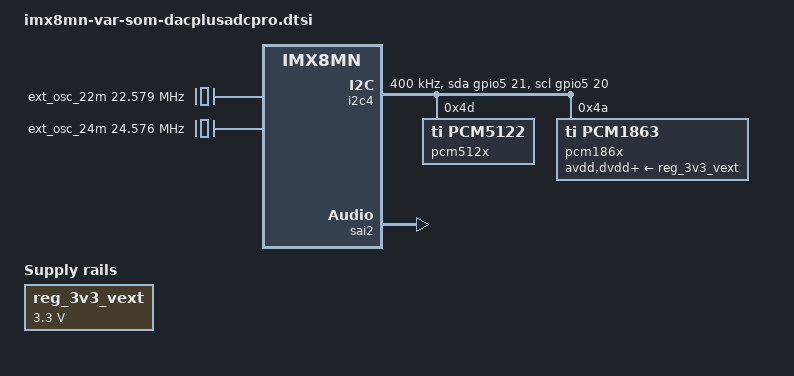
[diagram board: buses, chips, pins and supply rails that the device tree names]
// SPDX-License-Identifier: GPL-2.0
/*
 * Copyright (C) 2022 HiFiBerry Deutschland GmbH
 * Author: Joerg Schambacher <joerg@hifiberry.com>
 *
 */

/ {
	ext_osc_22m: ext-osc-22m {
		compatible = "fixed-clock";
		#clock-cells = <0>;
		clock-frequency = <22579200>;
		clock-output-names = "sclk0";
	};

	ext_osc_24m: ext-osc-24m {
		compatible = "fixed-clock";
		#clock-cells = <0>;
		clock-frequency = <24576000>;
		clock-output-names = "sclk1";
	};

	reg_3v3_vext: regulator-3v3-vext {
		compatible = "regulator-fixed";
		regulator-name = "3V3_VEXT";
		regulator-min-microvolt = <3300000>;
		regulator-max-microvolt = <3300000>;
	};

	sound-dacplusadcpro {
		compatible = "hifiberry,imx-audio-dacplusadcpro";
		model = "dacplusadcpro";
		audio-cpu = <&sai2>;
		audio-codec = <&pcm512x &pcm186x>;
		format = "i2s";
		audio-widgets =
			"Line", "Left Line Out Jack",
			"Line", "Right Line Out Jack";
		audio-routing =
			"Left Line Out Jack", "OUTL",
			"Right Line Out Jack", "OUTR";
		bitclock-master = <&pcm512x>;
		frame-master = <&pcm512x>;
		dac,24db_digital_gain;
		dac,led_status;
		status = "okay";
	};

};

&i2c4 {
	pinctrl-names = "default","gpio";
	pinctrl-0 = <&pinctrl_i2c4>;
	pinctrl-1 = <&pinctrl_i2c4_gpio>;
	sda-gpios = <&gpio5 21 (GPIO_ACTIVE_HIGH | GPIO_OPEN_DRAIN)>;
	scl-gpios = <&gpio5 20 (GPIO_ACTIVE_HIGH | GPIO_OPEN_DRAIN)>;
	clock-frequency = <400000>;
	status = "okay";

	pcm512x: pcm512x@4d {
		compatible = "ti,pcm5122";
		reg = <0x4d>;
		clocks = <&ext_osc_22m>, <&ext_osc_24m>;
		clock-names = "sclk0", "sclk1";
		status = "okay";
//		status = "disabled";
	};

	pcm186x: pcm186x@4a {
		compatible = "ti,pcm1863";
		reg = <0x4a>;
		avdd-supply = <&reg_3v3_vext>;
		dvdd-supply = <&reg_3v3_vext>;
		iovdd-supply = <&reg_3v3_vext>;
		clocks = <&ext_osc_22m>, <&ext_osc_24m>;
		clock-names = "sclk0", "sclk1";
		status = "okay";
	};

};

&sai2 {
	#sound-dai-cells = <0>;
	pinctrl-names = "default";
	pinctrl-0 = <&pinctrl_sai2>;
	/* RX synchronised to TX */
//	rx,sync-mode = < 1 >;

	/* Hifiberry card is master */
//	rx,slave_mode;
//	tx,slave_mode;
	status = "okay";
};

&sdma2 {
	status = "okay";
};

&iomuxc {

	pinctrl_sai2: sai2grp {
		fsl,pins = <
			MX8MN_IOMUXC_SAI2_TXC_SAI2_TX_BCLK	0xD6
			MX8MN_IOMUXC_SAI2_RXD0_SAI2_RX_DATA0	0xD6
			MX8MN_IOMUXC_SAI2_TXFS_SAI2_TX_SYNC	0xD6
			MX8MN_IOMUXC_SAI2_TXD0_SAI2_TX_DATA0	0xD6
		>;
	};

};
